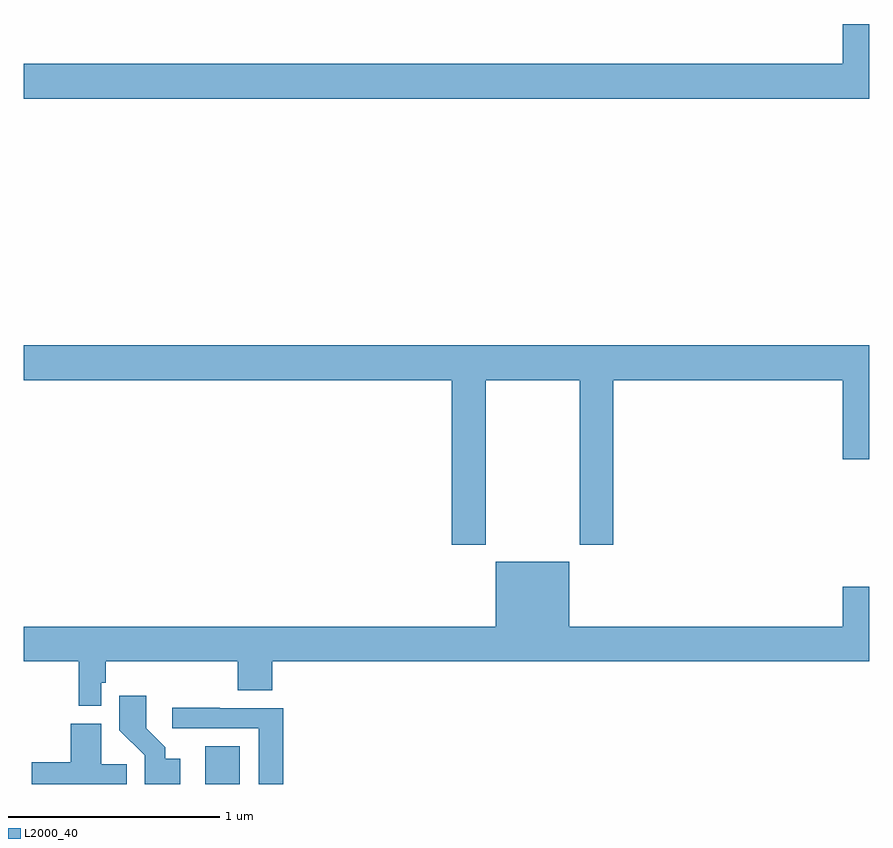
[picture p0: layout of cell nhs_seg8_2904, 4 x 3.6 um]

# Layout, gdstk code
import gdstk
lib = gdstk.Library(unit=1e-6, precision=1e-09)
def R(c, l, rs):  # rectangles x0, y0, x1, y1
    for r in rs: c.add(gdstk.rectangle(r[:2], r[2:], *l))
def P(c, l, *ps):  # polygons
    for p in ps: c.add(gdstk.Polygon(p, *l))
L2000_40 = (2000, 40)

nhs_seg8_2904 = lib.new_cell('nhs_seg8_2904')
R(nhs_seg8_2904, L2000_40, [(293.858,1135.9,294.022,1136.078)])
P(nhs_seg8_2904, L2000_40, [(297,1139.497),(296.876,1139.497),(296.876,1139.308),(293,1139.308),(293,1139.144),(297,1139.144)],
  [(295.185,1137.812),(295.63,1137.812),(295.63,1137.033),(295.79,1137.033),(295.79,1137.812),(296.876,1137.812),(296.876,1137.438),(297,1137.438),(297,1137.976),(293,1137.976),(293,1137.812),(295.025,1137.812),(295.025,1137.033),(295.185,1137.033)],
  [(293.367,1136.379),(293.387,1136.379),(293.387,1136.48),(294.011,1136.48),(294.011,1136.344),(294.176,1136.344),(294.176,1136.48),(297,1136.48),(297,1136.833),(296.876,1136.833),(296.876,1136.644),(295.582,1136.644),(295.582,1136.953),(295.232,1136.953),(295.232,1136.644),(293,1136.644),(293,1136.48),(293.259,1136.48),(293.259,1136.27),(293.367,1136.27)],
  [(293.74,1136.02),(293.668,1136.02),(293.668,1136.075),(293.578,1136.165),(293.578,1136.317),(293.452,1136.317),(293.452,1136.154),(293.571,1136.035),(293.571,1135.9),(293.74,1135.9)],
  [(294.227,1136.259),(293.927,1136.259),(293.927,1136.262),(293.703,1136.262),(293.703,1136.163),(294.111,1136.163),(294.111,1135.9),(294.227,1135.9)],
  [(293.486,1135.994),(293.365,1135.994),(293.365,1136.185),(293.221,1136.185),(293.221,1136.004),(293.036,1136.004),(293.036,1135.9),(293.486,1135.9)])

lib.write_gds('nhs_seg8_2904.gds')
